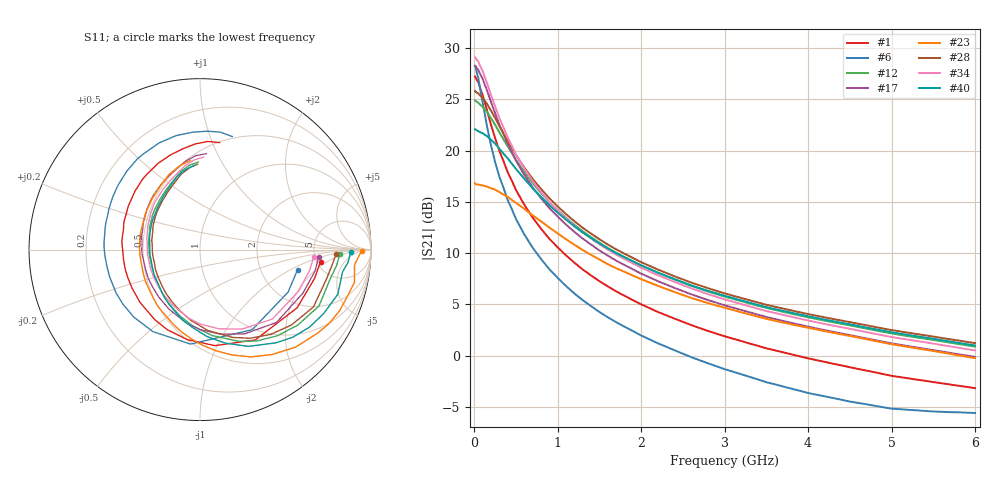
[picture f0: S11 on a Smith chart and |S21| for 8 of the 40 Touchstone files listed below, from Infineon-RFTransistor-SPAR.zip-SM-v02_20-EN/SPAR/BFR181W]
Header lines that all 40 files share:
! Infineon Technologies  Discrete & RF Semiconductors
! BFR181W
! Common Emitter S-Parameters:  Jan 2017
# GHz  S  MA  R  50
!  f  S11  S21  S12  S22
! GHz  MAG  ANG  MAG  ANG  MAG  ANG  MAG  ANG
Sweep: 10 MHz to 6 GHz
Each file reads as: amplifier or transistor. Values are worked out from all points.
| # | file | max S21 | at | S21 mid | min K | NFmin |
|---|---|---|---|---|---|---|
| 1 | BFR181W_w_noise_VCE_1.0V_IC_10mA.s2p | 27.2 dB | 10 MHz | 4.3 dB at 2.2 GHz | 0.22 | 1.24 dB |
| 2 | BFR181W_w_noise_VCE_1.0V_IC_11mA.s2p | 27.5 dB | 10 MHz | 3.5 dB at 2.2 GHz | 0.26 | 1.29 dB |
| 3 | BFR181W_w_noise_VCE_1.0V_IC_12mA.s2p | 27.8 dB | 10 MHz | 2.9 dB at 2.2 GHz | 0.31 | 1.34 dB |
| 4 | BFR181W_w_noise_VCE_1.0V_IC_13mA.s2p | 28.0 dB | 10 MHz | 2.3 dB at 2.2 GHz | 0.34 | 1.39 dB |
| 5 | BFR181W_w_noise_VCE_1.0V_IC_14mA.s2p | 28.1 dB | 10 MHz | 1.7 dB at 2.2 GHz | 0.35 | 1.43 dB |
| 6 | BFR181W_w_noise_VCE_1.0V_IC_15mA.s2p | 28.3 dB | 10 MHz | 1.2 dB at 2.2 GHz | 0.39 | 1.47 dB |
| 7 | BFR181W_w_noise_VCE_2.0V_IC_1.0mA.s2p | 11.2 dB | 10 MHz | 4.7 dB at 2.2 GHz | -0.11 | 0.87 dB |
| 8 | BFR181W_w_noise_VCE_2.0V_IC_2.0mA.s2p | 16.8 dB | 10 MHz | 6.7 dB at 2.2 GHz | -0.04 | 0.84 dB |
| 9 | BFR181W_w_noise_VCE_2.0V_IC_3.0mA.s2p | 20.0 dB | 10 MHz | 7.4 dB at 2.2 GHz | -0.19 | 0.87 dB |
| 10 | BFR181W_w_noise_VCE_2.0V_IC_4.0mA.s2p | 22.1 dB | 10 MHz | 7.8 dB at 2.2 GHz | 0.01 | 0.92 dB |
| 11 | BFR181W_w_noise_VCE_2.0V_IC_5.0mA.s2p | 23.7 dB | 10 MHz | 8.0 dB at 2.2 GHz | -0.02 | 0.97 dB |
| 12 | BFR181W_w_noise_VCE_2.0V_IC_6.0mA.s2p | 24.9 dB | 10 MHz | 8.1 dB at 2.2 GHz | -0.07 | 1.03 dB |
| 13 | BFR181W_w_noise_VCE_2.0V_IC_7.0mA.s2p | 25.9 dB | 10 MHz | 8.1 dB at 2.2 GHz | 0.03 | 1.08 dB |
| 14 | BFR181W_w_noise_VCE_2.0V_IC_8.0mA.s2p | 26.7 dB | 10 MHz | 8.0 dB at 2.2 GHz | -0.03 | 1.14 dB |
| 15 | BFR181W_w_noise_VCE_2.0V_IC_9.0mA.s2p | 27.3 dB | 10 MHz | 7.9 dB at 2.2 GHz | -0.07 | 1.18 dB |
| 16 | BFR181W_w_noise_VCE_2.0V_IC_10mA.s2p | 27.9 dB | 10 MHz | 7.6 dB at 2.2 GHz | 0.03 | 1.24 dB |
| 17 | BFR181W_w_noise_VCE_2.0V_IC_11mA.s2p | 28.3 dB | 10 MHz | 7.3 dB at 2.2 GHz | 0.00 | 1.29 dB |
| 18 | BFR181W_w_noise_VCE_2.0V_IC_12mA.s2p | 28.6 dB | 10 MHz | 6.8 dB at 2.2 GHz | 0.07 | 1.34 dB |
| 19 | BFR181W_w_noise_VCE_2.0V_IC_13mA.s2p | 28.9 dB | 10 MHz | 6.3 dB at 2.2 GHz | 0.06 | 1.39 dB |
| 20 | BFR181W_w_noise_VCE_2.0V_IC_14mA.s2p | 29.1 dB | 10 MHz | 5.8 dB at 2.2 GHz | 0.24 | 1.43 dB |
| 21 | BFR181W_w_noise_VCE_2.0V_IC_15mA.s2p | 29.2 dB | 10 MHz | 5.3 dB at 2.2 GHz | 0.19 | 1.47 dB |
| 22 | BFR181W_w_noise_VCE_3.0V_IC_1.0mA.s2p | 11.2 dB | 10 MHz | 4.8 dB at 2.2 GHz | -0.11 | 0.87 dB |
| 23 | BFR181W_w_noise_VCE_3.0V_IC_2.0mA.s2p | 16.8 dB | 10 MHz | 6.8 dB at 2.2 GHz | -0.08 | 0.84 dB |
| 24 | BFR181W_w_noise_VCE_3.0V_IC_3.0mA.s2p | 20.0 dB | 10 MHz | 7.6 dB at 2.2 GHz | -0.14 | 0.87 dB |
| 25 | BFR181W_w_noise_VCE_3.0V_IC_4.0mA.s2p | 22.1 dB | 10 MHz | 8.0 dB at 2.2 GHz | 0.01 | 0.92 dB |
| 26 | BFR181W_w_noise_VCE_3.0V_IC_5.0mA.s2p | 23.6 dB | 10 MHz | 8.2 dB at 2.2 GHz | -0.08 | 0.97 dB |
| 27 | BFR181W_w_noise_VCE_3.0V_IC_6.0mA.s2p | 24.9 dB | 10 MHz | 8.3 dB at 2.2 GHz | -0.02 | 1.03 dB |
| 28 | BFR181W_w_noise_VCE_3.0V_IC_7.0mA.s2p | 25.8 dB | 10 MHz | 8.4 dB at 2.2 GHz | 0.02 | 1.08 dB |
| 29 | BFR181W_w_noise_VCE_3.0V_IC_8.0mA.s2p | 26.7 dB | 10 MHz | 8.4 dB at 2.2 GHz | -0.09 | 1.14 dB |
| 30 | BFR181W_w_noise_VCE_3.0V_IC_9.0mA.s2p | 27.3 dB | 10 MHz | 8.4 dB at 2.2 GHz | -0.05 | 1.18 dB |
| 31 | BFR181W_w_noise_VCE_3.0V_IC_10mA.s2p | 27.9 dB | 10 MHz | 8.3 dB at 2.2 GHz | -0.02 | 1.24 dB |
| 32 | BFR181W_w_noise_VCE_3.0V_IC_11mA.s2p | 28.4 dB | 10 MHz | 8.2 dB at 2.2 GHz | -0.02 | 1.29 dB |
| 33 | BFR181W_w_noise_VCE_3.0V_IC_12mA.s2p | 28.8 dB | 10 MHz | 8.1 dB at 2.2 GHz | 0.14 | 1.34 dB |
| 34 | BFR181W_w_noise_VCE_3.0V_IC_13mA.s2p | 29.1 dB | 10 MHz | 7.8 dB at 2.2 GHz | 0.19 | 1.39 dB |
| 35 | BFR181W_w_noise_VCE_3.0V_IC_14mA.s2p | 29.4 dB | 10 MHz | 7.6 dB at 2.2 GHz | 0.04 | 1.43 dB |
| 36 | BFR181W_w_noise_VCE_3.0V_IC_15mA.s2p | 29.6 dB | 10 MHz | 7.2 dB at 2.2 GHz | 0.09 | 1.47 dB |
| 37 | BFR181W_w_noise_VCE_4.0V_IC_1.0mA.s2p | 11.2 dB | 10 MHz | 4.9 dB at 2.2 GHz | -0.10 | 0.87 dB |
| 38 | BFR181W_w_noise_VCE_4.0V_IC_2.0mA.s2p | 16.8 dB | 10 MHz | 6.9 dB at 2.2 GHz | -0.15 | 0.84 dB |
| 39 | BFR181W_w_noise_VCE_4.0V_IC_3.0mA.s2p | 20.0 dB | 10 MHz | 7.7 dB at 2.2 GHz | -0.17 | 0.87 dB |
| 40 | BFR181W_w_noise_VCE_4.0V_IC_4.0mA.s2p | 22.1 dB | 10 MHz | 8.1 dB at 2.2 GHz | -0.12 | 0.92 dB |

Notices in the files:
Hoja de datos/BFP 450/Infineon-RFTransistor-SPAR.zip-SM-v02_20-EN/SPAR/BFR181W/BFR181W_w_noise_VCE_1.0V_IC_10mA.s2p:
(c) 2017  Infineon Technologies AG, Munich
